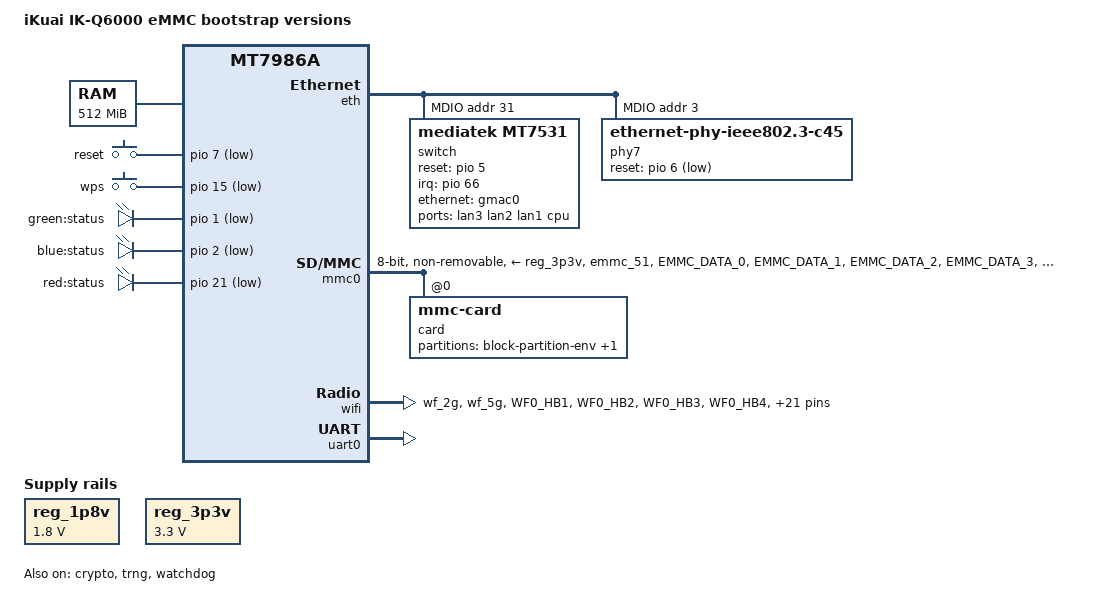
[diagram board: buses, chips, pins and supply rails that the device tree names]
// SPDX-License-Identifier: GPL-2.0-or-later OR MIT

/dts-v1/;
#include <dt-bindings/gpio/gpio.h>
#include <dt-bindings/input/input.h>
#include <dt-bindings/leds/common.h>

#include "mt7986a.dtsi"

/ {
	model = "iKuai IK-Q6000 eMMC bootstrap versions";
	compatible = "ikuai,q6000-emmc", "mediatek,mt7986a";

	aliases {
		serial0 = &uart0;
		led-boot = &led_red;
		led-failsafe = &led_red;
		led-running = &led_green;
		led-upgrade = &led_blue;
	};

	chosen {
		stdout-path = "serial0:115200n8";
		bootargs-append = " root=PARTLABEL=rootfs rootwait";
	};

	memory@40000000 {
		reg = <0 0x40000000 0 0x20000000>;
	};

	gpio-keys {
		compatible = "gpio-keys";

		button-reset {
			label = "reset";
			gpios = <&pio 7 GPIO_ACTIVE_LOW>;
			linux,code = <KEY_RESTART>;
		};

		button-wps {
			label = "wps";
			gpios = <&pio 15 GPIO_ACTIVE_LOW>;
			linux,code = <KEY_WPS_BUTTON>;
		};
	};

	leds-gpio {
		compatible = "gpio-leds";

		led_green: green {
 			label = "green:status";
 			gpios = <&pio 1 GPIO_ACTIVE_LOW>;
 		};

 		led_blue: blue {
 			label = "blue:status";
 			gpios = <&pio 2 GPIO_ACTIVE_LOW>;
 		};
 			
		led_red: red {
 			label = "red:status";
			gpios = <&pio 21 GPIO_ACTIVE_LOW>;
		};
	};
	
	reg_1p8v: regulator-1p8v {
		compatible = "regulator-fixed";
		regulator-name = "fixed-1.8V";
		regulator-min-microvolt = <1800000>;
		regulator-max-microvolt = <1800000>;
		regulator-boot-on;
		regulator-always-on;
	};

	reg_3p3v: regulator-3p3v {
		compatible = "regulator-fixed";
		regulator-name = "fixed-3.3V";
		regulator-min-microvolt = <3300000>;
		regulator-max-microvolt = <3300000>;
		regulator-boot-on;
		regulator-always-on;
	};
};

&crypto {
	status = "okay";
};

&eth {
	status = "okay";

	gmac0: mac@0 {
		compatible = "mediatek,eth-mac";
		reg = <0>;
		phy-mode = "2500base-x";
		fixed-link {
			speed = <2500>;
			full-duplex;
			pause;
		};
	};

	gmac1: mac@1 {
		compatible = "mediatek,eth-mac";
		reg = <1>;
		phy-handle = <&phy7>;
		phy-mode = "2500base-x";
	};

	mdio: mdio-bus {
		#address-cells = <1>;
		#size-cells = <0>;
	};
};


&mdio {
	switch: switch@1f {
		compatible = "mediatek,mt7531";
		reg = <31>;
		reset-gpios = <&pio 5 GPIO_ACTIVE_HIGH>;
		interrupt-controller;
		#interrupt-cells = <1>;
		interrupt-parent = <&pio>;
		interrupts = <66 IRQ_TYPE_LEVEL_HIGH>;
	};

	phy7: phy@7 {
		compatible = "ethernet-phy-ieee802.3-c45";
		reg = <3>;
		reset-assert-us = <100000>;
		reset-deassert-us = <100000>;
		reset-gpios = <&pio 6 GPIO_ACTIVE_LOW>;
		realtek,aldps-enable;
	};
};

&switch {
	ports {
		#address-cells = <1>;
		#size-cells = <0>;

		port@2 {
			reg = <2>;
			label = "lan3";
		};

		port@3 {
			reg = <3>;
			label = "lan2";
		};
		
		port@4 {
		        reg = <4>;
		        label = "lan1";
		};

		port@6 {
			reg = <6>;
			label = "cpu";
			ethernet = <&gmac0>;
			phy-mode = "2500base-x";

			fixed-link {
				speed = <2500>;
				full-duplex;
				pause;
			};
		};
	};
};

&pio {
	wf_2g_5g_pins: wf_2g_5g-pins {
		mux {
			function = "wifi";
			groups = "wf_2g", "wf_5g";
		};
		conf {
			pins = "WF0_HB1", "WF0_HB2", "WF0_HB3", "WF0_HB4",
			       "WF0_HB0", "WF0_HB0_B", "WF0_HB5", "WF0_HB6",
			       "WF0_HB7", "WF0_HB8", "WF0_HB9", "WF0_HB10",
			       "WF0_TOP_CLK", "WF0_TOP_DATA", "WF1_HB1",
			       "WF1_HB2", "WF1_HB3", "WF1_HB4", "WF1_HB0",
			       "WF1_HB5", "WF1_HB6", "WF1_HB7", "WF1_HB8",
			       "WF1_TOP_CLK", "WF1_TOP_DATA";
			drive-strength = <4>;
		};
	};

	mmc0_pins_default: mmc0-pins {
		mux {
			function = "emmc";
			groups = "emmc_51";
		};
		conf-cmd-dat {
			pins = "EMMC_DATA_0", "EMMC_DATA_1", "EMMC_DATA_2",
			       "EMMC_DATA_3", "EMMC_DATA_4", "EMMC_DATA_5",
			       "EMMC_DATA_6", "EMMC_DATA_7", "EMMC_CMD";
			input-enable;
			drive-strength = <4>;
			mediatek,pull-up-adv = <1>;	/* pull-up 10K */
		};
		conf-clk {
			pins = "EMMC_CK";
			drive-strength = <6>;
			mediatek,pull-down-adv = <2>;	/* pull-down 50K */
		};
		conf-ds {
			pins = "EMMC_DSL";
			mediatek,pull-down-adv = <2>;	/* pull-down 50K */
		};
		conf-rst {
			pins = "EMMC_RSTB";
			drive-strength = <4>;
			mediatek,pull-up-adv = <1>;	/* pull-up 10K */
		};
	};

	mmc0_pins_uhs: mmc0-uhs-pins {
		mux {
			function = "emmc";
			groups = "emmc_51";
		};
		conf-cmd-dat {
			pins = "EMMC_DATA_0", "EMMC_DATA_1", "EMMC_DATA_2",
			       "EMMC_DATA_3", "EMMC_DATA_4", "EMMC_DATA_5",
			       "EMMC_DATA_6", "EMMC_DATA_7", "EMMC_CMD";
			input-enable;
			drive-strength = <4>;
			mediatek,pull-up-adv = <1>;	/* pull-up 10K */
		};
		conf-clk {
			pins = "EMMC_CK";
			drive-strength = <6>;
			mediatek,pull-down-adv = <2>;	/* pull-down 50K */
		};
		conf-ds {
			pins = "EMMC_DSL";
			mediatek,pull-down-adv = <2>;	/* pull-down 50K */
		};
		conf-rst {
			pins = "EMMC_RSTB";
			drive-strength = <4>;
			mediatek,pull-up-adv = <1>;	/* pull-up 10K */
		};
	};
};

&mmc0 {
	pinctrl-names = "default", "state_uhs";
	pinctrl-0 = <&mmc0_pins_default>;
	pinctrl-1 = <&mmc0_pins_uhs>;
	bus-width = <8>;
	max-frequency = <200000000>;
	cap-mmc-highspeed;
	mmc-hs200-1_8v;
	mmc-hs400-1_8v;
	hs400-ds-delay = <0x14014>;
	vmmc-supply = <&reg_3p3v>;
	vqmmc-supply = <&reg_1p8v>;
	non-removable;
	no-sd;
	no-sdio;
	status = "okay";

	card@0 {
		compatible = "mmc-card";
		reg = <0>;

		block {
			compatible = "block-device";
			partitions {
				block-partition-env {
					partname = "u-boot-env";

					nvmem-layout {
						compatible = "u-boot,env";
					};
				};

				block-partition-factory {
					partname = "factory";

					nvmem-layout {
						compatible = "fixed-layout";
						#address-cells = <1>;
						#size-cells = <1>;

						eeprom_factory_0: eeprom@0 {
							reg = <0x0 0x1000>;
						};

						macaddr_factory_a: macaddr@a {
							compatible = "mac-base";
							reg = <0xa 0x6>;
							#nvmem-cell-cells = <1>;
						};
					};
				};
			};
		};
	};
};

&wifi {
	nvmem-cells = <&eeprom_factory_0>;
	nvmem-cell-names = "eeprom";
	pinctrl-names = "default";
	pinctrl-0 = <&wf_2g_5g_pins>;
	status = "okay";
};

&trng {
	status = "okay";
};

&uart0 {
	status = "okay";
};

&watchdog {
	status = "okay";
};
